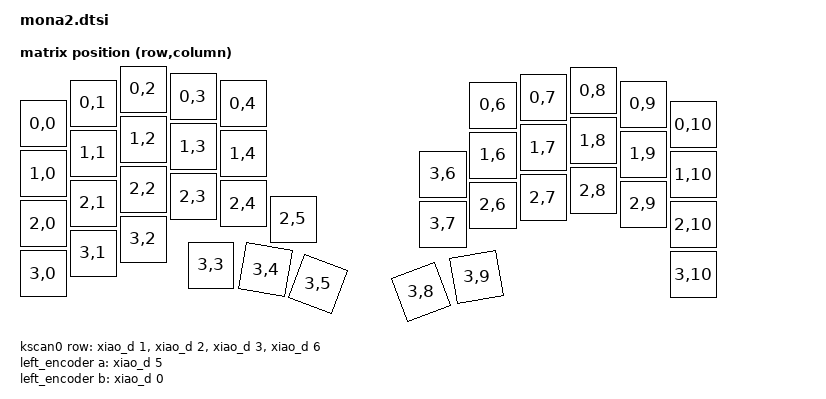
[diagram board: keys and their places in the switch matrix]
#include <dt-bindings/zmk/matrix_transform.h>
#include <input/processors.dtsi>
#include <dt-bindings/zmk/input_transform.h>
#include <physical_layouts.dtsi>
/* NOTE: <input/processors/runtime-input-processor.dtsi> は最終的に
   modifiers.h を引き込み RC(keycode) を 1 引数で再定義するため、
   このファイル内のマトリクス RC(row,col) と衝突する。
   そのため runtime-input-processor.dtsi は overlay 側で
   `#include "mona2.dtsi"` の後に include すること。 */

/ {
    chosen {
        zmk,physical-layout = &physical_layout0;
    };

    physical_layout0: physical_layout_0 {
        compatible = "zmk,physical-layout";
        display-name = "default_layout";

        kscan = <&kscan0>;
        transform = <&default_transform>;

        /* mona2-ver3_topplate.stl のスイッチ穴から算出
           1u = 17.05mm（プレートのキーピッチ）、rot は 1/100 度（時計回り正）
           左右の間隔のみ表示用に詰めている（右半分を STL 配置から -264 移動） */
        keys  //                     w   h    x    y     rot    rx    ry
            = <&key_physical_attrs 100 100    0   69       0     0     0>   // 0
            , <&key_physical_attrs 100 100  100   28       0     0     0>   // 1
            , <&key_physical_attrs 100 100  200    0       0     0     0>   // 2
            , <&key_physical_attrs 100 100  300   15       0     0     0>   // 3
            , <&key_physical_attrs 100 100  400   29       0     0     0>   // 4
            , <&key_physical_attrs 100 100  900   32       0     0     0>   // 5
            , <&key_physical_attrs 100 100 1000   17       0     0     0>   // 6
            , <&key_physical_attrs 100 100 1100    3       0     0     0>   // 7
            , <&key_physical_attrs 100 100 1200   30       0     0     0>   // 8
            , <&key_physical_attrs 100 100 1300   71       0     0     0>   // 9
            , <&key_physical_attrs 100 100    0  169       0     0     0>   // 10
            , <&key_physical_attrs 100 100  100  128       0     0     0>   // 11
            , <&key_physical_attrs 100 100  200  100       0     0     0>   // 12
            , <&key_physical_attrs 100 100  300  115       0     0     0>   // 13
            , <&key_physical_attrs 100 100  400  129       0     0     0>   // 14
            , <&key_physical_attrs 100 100  800  170       0     0     0>   // 15
            , <&key_physical_attrs 100 100  900  132       0     0     0>   // 16
            , <&key_physical_attrs 100 100 1000  117       0     0     0>   // 17
            , <&key_physical_attrs 100 100 1100  103       0     0     0>   // 18
            , <&key_physical_attrs 100 100 1200  130       0     0     0>   // 19
            , <&key_physical_attrs 100 100 1300  171       0     0     0>   // 20
            , <&key_physical_attrs 100 100    0  269       0     0     0>   // 21
            , <&key_physical_attrs 100 100  100  228       0     0     0>   // 22
            , <&key_physical_attrs 100 100  200  200       0     0     0>   // 23
            , <&key_physical_attrs 100 100  300  215       0     0     0>   // 24
            , <&key_physical_attrs 100 100  400  229       0     0     0>   // 25
            , <&key_physical_attrs 100 100  500  260       0     0     0>   // 26
            , <&key_physical_attrs 100 100  800  270       0     0     0>   // 27
            , <&key_physical_attrs 100 100  900  232       0     0     0>   // 28
            , <&key_physical_attrs 100 100 1000  217       0     0     0>   // 29
            , <&key_physical_attrs 100 100 1100  203       0     0     0>   // 30
            , <&key_physical_attrs 100 100 1200  230       0     0     0>   // 31
            , <&key_physical_attrs 100 100 1300  271       0     0     0>   // 32
            , <&key_physical_attrs 100 100    0  369       0     0     0>   // 33
            , <&key_physical_attrs 100 100  100  328       0     0     0>   // 34
            , <&key_physical_attrs 100 100  200  300       0     0     0>   // 35
            , <&key_physical_attrs 100 100  336  352       0     0     0>   // 36
            , <&key_physical_attrs 100 100  445  361    1000   495   411>   // 37
            , <&key_physical_attrs 100 100  550  390    2000   600   440>   // 38
            , <&key_physical_attrs 100 100  756  406 (-2000)   806   456>   // 39
            , <&key_physical_attrs 100 100  867  376 (-1000)   917   426>   // 40
            , <&key_physical_attrs 100 100 1300  371       0     0     0>   // 41
            ;
    };

    default_transform: keymap_transform_0 {
        compatible = "zmk,matrix-transform";
        columns = <11>;
        rows = <4>;               
        map = <
            RC(0,0) RC(0,1) RC(0,2) RC(0,3) RC(0,4)                     RC(0,6) RC(0,7) RC(0,8) RC(0,9) RC(0,10)
            RC(1,0) RC(1,1) RC(1,2) RC(1,3) RC(1,4)             RC(3,6) RC(1,6) RC(1,7) RC(1,8) RC(1,9) RC(1,10)
            RC(2,0) RC(2,1) RC(2,2) RC(2,3) RC(2,4) RC(2,5)     RC(3,7) RC(2,6) RC(2,7) RC(2,8) RC(2,9) RC(2,10)
            RC(3,0) RC(3,1) RC(3,2) RC(3,3) RC(3,4) RC(3,5)     RC(3,8) RC(3,9)                         RC(3,10)         
        >;
    };
    
    kscan0: kscan {
        compatible = "zmk,kscan-gpio-matrix";
        label = "KSCAN";
        diode-direction = "col2row";
            row-gpios
                = <&xiao_d 1 (GPIO_ACTIVE_HIGH | GPIO_PULL_DOWN)> 
                , <&xiao_d 2 (GPIO_ACTIVE_HIGH | GPIO_PULL_DOWN)> 
                , <&xiao_d 3 (GPIO_ACTIVE_HIGH | GPIO_PULL_DOWN)> 
                , <&xiao_d 6 (GPIO_ACTIVE_HIGH | GPIO_PULL_DOWN)> 			
                ;
    };

    //right hand trackball
    trackball_central_listener: trackball_central_listener {
        compatible = "zmk,input-listener";
        status = "disabled";
        /* DYA Studio で動的に編集できるよう、入力プロセッサは
           overlay 側で &mouse_runtime_input_processor /
           &scroll_runtime_input_processor へ委譲する */
    };

    left_encoder: encoder_left {
        compatible = "alps,ec11";
        a-gpios = <&xiao_d 5 (GPIO_ACTIVE_HIGH | GPIO_PULL_UP)>;
        b-gpios = <&xiao_d 0 (GPIO_ACTIVE_HIGH | GPIO_PULL_UP)>;
        steps = <96>;
        status = "disabled";
    };

    right_encoder: encoder_right {
        status = "disabled";
    };

    sensors: sensors {
        compatible = "zmk,keymap-sensors";
        sensors = <&left_encoder &right_encoder>;
        triggers-per-rotation = <24>;
    };

};
